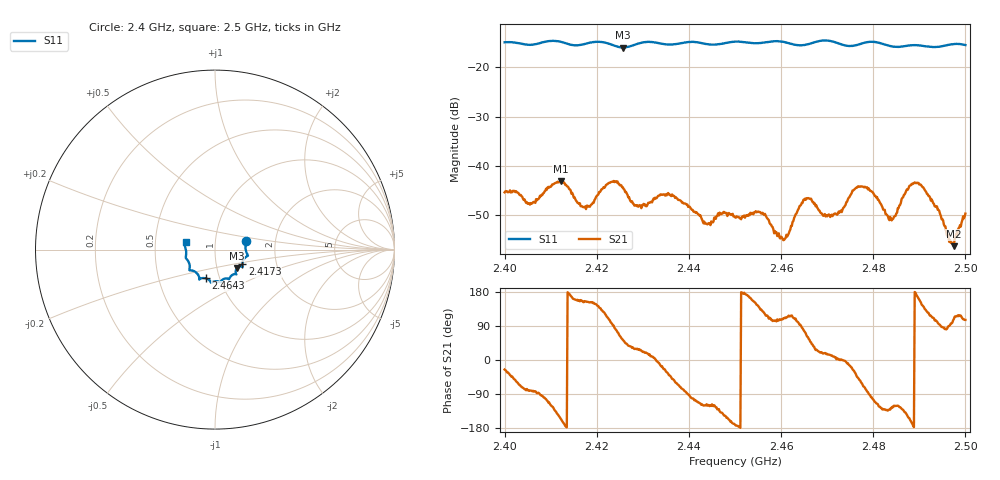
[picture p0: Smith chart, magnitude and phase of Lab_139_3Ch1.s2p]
# Hz S RI R 50
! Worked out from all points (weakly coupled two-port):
!   601 points, 2.4 GHz to 2.5 GHz, reference 50 ohm
!   highest |S21| = -43.08 dB at 2.4122 GHz (marker M1); lowest = -56.4 dB at 2.4975 GHz (marker M2)
!   lowest |S11| = -15.9 dB at 2.4257 GHz (marker M3), VSWR 1.38, Z = 62.4 - j13.1 ohm
!   |S11| at or under -10 dB: start of sweep to end of sweep
!   S12 and S22 are empty: the file has one direction only
!   S11 on the Smith chart (normalised r, x): 2.4 GHz: 1.41, +0.14; 2.4173 GHz: 1.34, -0.23; 2.4643 GHz: 0.86, -0.28; 2.5 GHz: 0.72, +0.06
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2.4e9  0.1733 0.0494  0.00485 -0.00228  0 0  0 0
2.4055e9  0.1696 0.0071  0.000642 -0.00396  0 0  0 0
2.412167e9  0.1788 -0.037  -0.00634 -0.00299  0 0  0 0
2.416667e9  0.1527 -0.0748  -0.00356 0.00152  0 0  0 0
2.417333e9  0.1523 -0.0821  -0.00346 0.00158  0 0  0 0
2.422833e9  0.146 -0.0935  -0.0017 0.00647  0 0  0 0
2.425667e9  0.1223 -0.1023  0.00359 0.00484  0 0  0 0
2.428667e9  0.1155 -0.129  0.00341 0.00186  0 0  0 0
2.433333e9  0.1128 -0.1366  0.00491 -0.000562  0 0  0 0
2.436833e9  0.0885 -0.1479  0.00286 -0.00398  0 0  0 0
2.443667e9  0.0654 -0.1606  -0.00128 -0.00224  0 0  0 0
2.45e9  0.0298 -0.1807  -0.00296 -0.000471  0 0  0 0
2.4555e9  -0.00278 -0.1773  -0.00231 0.00245  0 0  0 0
2.4605e9  -0.0245 -0.1807  -0.000604 0.00164  0 0  0 0
2.464333e9  -0.0502 -0.1604  -1.69e-06 0.004  0 0  0 0
2.466667e9  -0.0761 -0.1598  0.00329 0.00297  0 0  0 0
2.471e9  -0.0869 -0.1628  0.0031 0.000674  0 0  0 0
2.478167e9  -0.1362 -0.116  0.00181 -0.00584  0 0  0 0
2.483333e9  -0.1407 -0.0896  -0.00191 -0.00216  0 0  0 0
2.489833e9  -0.1628 -0.042  -0.00638 0.00201  0 0  0 0
2.4975e9  -0.1708 0.0288  -0.000473 0.00144  0 0  0 0
2.5e9  -0.1638 0.042  -0.000883 0.00313  0 0  0 0
